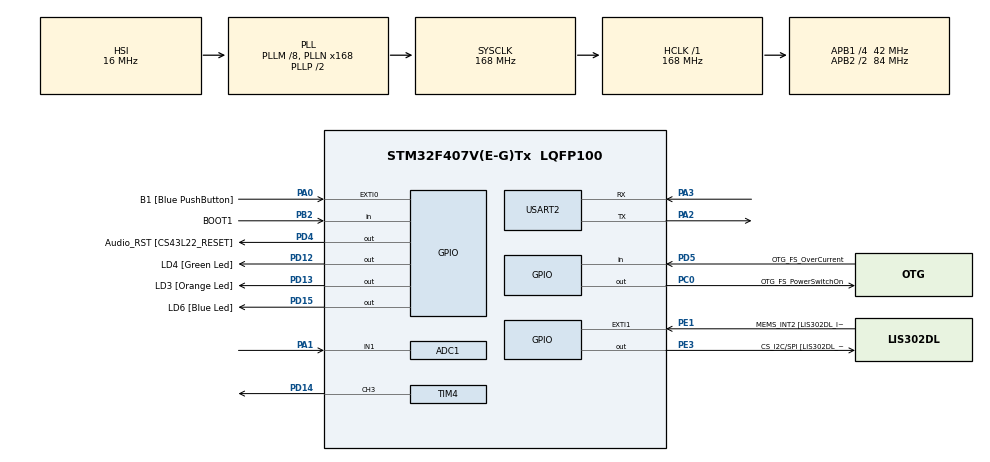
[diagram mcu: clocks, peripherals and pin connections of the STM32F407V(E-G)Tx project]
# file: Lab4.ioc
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ADC1.Channel-0\#ChannelRegularConversion=ADC_CHANNEL_1
ADC1.NbrOfConversionFlag=1
ADC1.Rank-0\#ChannelRegularConversion=1
ADC1.SamplingTime-0\#ChannelRegularConversion=ADC_SAMPLETIME_3CYCLES
ADC1.master=1
Mcu.Family=STM32F4
Mcu.Name=STM32F407V(E-G)Tx
Mcu.Package=LQFP100
NVIC.PriorityGroup=NVIC_PRIORITYGROUP_0
NVIC.TIM8_TRG_COM_TIM14_IRQn=true\:0\:0\:false\:false\:true\:true
PA0-WKUP.GPIO_Label=B1 [Blue PushButton]
PA0-WKUP.Signal=GPXTI0
PA1.Signal=ADCx_IN1
PA10.GPIO_Label=OTG_FS_ID
PA10.GPIO_Mode=GPIO_MODE_AF_PP
PA10.GPIO_PuPd=GPIO_NOPULL
PA10.GPIO_Speed=GPIO_SPEED_FREQ_LOW
PA10.Signal=USB_OTG_FS_ID
PA11.GPIO_Label=OTG_FS_DM
PA11.GPIO_Mode=GPIO_MODE_AF_PP
PA11.GPIO_PuPd=GPIO_NOPULL
PA11.GPIO_Speed=GPIO_SPEED_FREQ_LOW
PA11.Signal=USB_OTG_FS_DM
PA12.GPIO_Label=OTG_FS_DP
PA12.GPIO_Mode=GPIO_MODE_AF_PP
PA12.GPIO_PuPd=GPIO_NOPULL
PA12.GPIO_Speed=GPIO_SPEED_FREQ_LOW
PA12.Signal=USB_OTG_FS_DP
PA13.GPIO_Label=SWDIO
PA13.Signal=SYS_JTMS-SWDIO
PA14.GPIO_Label=SWCLK
PA14.Signal=SYS_JTCK-SWCLK
PA2.Mode=Asynchronous
PA2.Signal=USART2_TX
PA3.Mode=Asynchronous
PA3.Signal=USART2_RX
PA4.GPIO_Label=I2S3_WS [CS43L22_LRCK]
PA4.GPIO_Mode=GPIO_MODE_AF_PP
PA4.GPIO_PuPd=GPIO_NOPULL
PA4.GPIO_Speed=GPIO_SPEED_FREQ_LOW
PA4.Signal=I2S3_WS
PA5.GPIO_Label=SPI1_SCK [LIS302DL_SCL/SPC]
PA5.GPIO_Mode=GPIO_MODE_AF_PP
PA5.GPIO_PuPd=GPIO_NOPULL
PA5.GPIO_Speed=GPIO_SPEED_FREQ_LOW
PA5.Signal=SPI1_SCK
PA6.GPIO_Label=SPI1_MISO [LIS302DL_SDO]
PA6.GPIO_Mode=GPIO_MODE_AF_PP
PA6.GPIO_PuPd=GPIO_NOPULL
PA6.GPIO_Speed=GPIO_SPEED_FREQ_LOW
PA6.Signal=SPI1_MISO
PA7.GPIO_Label=SPI1_MOSI [LIS302DL_SDA/SDI/SDO]
PA7.GPIO_Mode=GPIO_MODE_AF_PP
PA7.GPIO_PuPd=GPIO_NOPULL
PA7.GPIO_Speed=GPIO_SPEED_FREQ_LOW
PA7.Signal=SPI1_MOSI
PA9.GPIO_Label=VBUS_FS
PA9.GPIO_Mode=GPIO_MODE_INPUT
PA9.GPIO_PuPd=GPIO_NOPULL
PA9.Signal=USB_OTG_FS_VBUS
PB10.GPIO_Label=CLK_IN [MP45DT02_CLK]
PB10.GPIO_Mode=GPIO_MODE_AF_PP
PB10.GPIO_PuPd=GPIO_NOPULL
PB10.GPIO_Speed=GPIO_SPEED_FREQ_LOW
PB10.Signal=I2S2_CK
PB2.GPIO_Label=BOOT1
PB2.GPIO_Mode=GPIO_MODE_INPUT
PB2.GPIO_PuPd=GPIO_NOPULL
PB2.Signal=GPIO_Input
PB3.GPIO_Label=SWO
PB3.Signal=SYS_JTDO-SWO
PB6.GPIO_Label=Audio_SCL [CS43L22_SCL]
PB6.GPIO_Mode=GPIO_MODE_AF_OD
PB6.GPIO_PuPd=GPIO_NOPULL
PB6.GPIO_Speed=GPIO_SPEED_FREQ_LOW
PB6.Signal=I2C1_SCL
PB9.GPIO_Label=Audio_SDA [CS43L22_SDA]
PB9.GPIO_Mode=GPIO_MODE_AF_OD
PB9.GPIO_PuPd=GPIO_NOPULL
PB9.GPIO_Speed=GPIO_SPEED_FREQ_LOW
PB9.Signal=I2C1_SDA
PC0.GPIO_Label=OTG_FS_PowerSwitchOn
PC0.GPIO_PuPd=GPIO_NOPULL
PC0.GPIO_Speed=GPIO_SPEED_FREQ_LOW
PC0.PinState=GPIO_PIN_SET
PC0.Signal=GPIO_Output
PC10.GPIO_Label=I2S3_SCK [CS43L22_SCLK]
PC10.GPIO_Mode=GPIO_MODE_AF_PP
PC10.GPIO_PuPd=GPIO_NOPULL
PC10.GPIO_Speed=GPIO_SPEED_FREQ_LOW
PC10.Signal=I2S3_CK
PC12.GPIO_Label=I2S3_SD [CS43L22_SDIN]
PC12.GPIO_Mode=GPIO_MODE_AF_PP
PC12.GPIO_PuPd=GPIO_NOPULL
PC12.GPIO_Speed=GPIO_SPEED_FREQ_LOW
PC12.Signal=I2S3_SD
PC14-OSC32_IN.GPIO_Label=PC14-OSC32_IN
PC14-OSC32_IN.Signal=RCC_OSC32_IN
PC15-OSC32_OUT.GPIO_Label=PC15-OSC32_OUT
PC15-OSC32_OUT.Signal=RCC_OSC32_OUT
PC3.GPIO_Label=PDM_OUT [MP45DT02_DOUT]
PC3.GPIO_Mode=GPIO_MODE_AF_PP
PC3.GPIO_PuPd=GPIO_NOPULL
PC3.GPIO_Speed=GPIO_SPEED_FREQ_LOW
PC3.Signal=I2S2_SD
PC7.GPIO_Label=I2S3_MCK [CS43L22_MCLK]
PC7.GPIO_Mode=GPIO_MODE_AF_PP
PC7.GPIO_PuPd=GPIO_NOPULL
PC7.GPIO_Speed=GPIO_SPEED_FREQ_LOW
PC7.Signal=I2S3_MCK
PD12.GPIO_Label=LD4 [Green Led]
PD12.GPIO_PuPd=GPIO_NOPULL
PD12.GPIO_Speed=GPIO_SPEED_FREQ_LOW
PD12.Signal=GPIO_Output
PD13.GPIO_Label=LD3 [Orange Led]
PD13.GPIO_PuPd=GPIO_NOPULL
PD13.GPIO_Speed=GPIO_SPEED_FREQ_LOW
PD13.Signal=GPIO_Output
PD14.Signal=S_TIM4_CH3
PD15.GPIO_Label=LD6 [Blue Led]
PD15.GPIO_PuPd=GPIO_NOPULL
PD15.GPIO_Speed=GPIO_SPEED_FREQ_LOW
PD15.Signal=GPIO_Output
PD4.GPIO_Label=Audio_RST [CS43L22_RESET]
PD4.GPIO_PuPd=GPIO_NOPULL
PD4.GPIO_Speed=GPIO_SPEED_FREQ_LOW
PD4.Signal=GPIO_Output
PD5.GPIO_Label=OTG_FS_OverCurrent
PD5.GPIO_Mode=GPIO_MODE_INPUT
PD5.GPIO_PuPd=GPIO_NOPULL
PD5.Signal=GPIO_Input
PE1.GPIO_Label=MEMS_INT2 [LIS302DL_INT2]
PE1.GPIO_ModeDefaultEXTI=GPIO_MODE_EVT_RISING
PE1.GPIO_PuPd=GPIO_NOPULL
PE1.Signal=GPXTI1
PE3.GPIO_Label=CS_I2C/SPI [LIS302DL_CS_I2C/SPI]
PE3.GPIO_PuPd=GPIO_NOPULL
PE3.GPIO_Speed=GPIO_SPEED_FREQ_LOW
PE3.Signal=GPIO_Output
PH0-OSC_IN.GPIO_Label=PH0-OSC_IN
PH0-OSC_IN.Signal=RCC_OSC_IN
PH1-OSC_OUT.GPIO_Label=PH1-OSC_OUT
PH1-OSC_OUT.Signal=RCC_OSC_OUT
ProjectManager.HeapSize=0x200
ProjectManager.StackSize=0x400
ProjectManager.TargetToolchain=MDK-ARM V5
RCC.48MHZClocksFreq_Value=48000000
RCC.AHBFreq_Value=168000000
RCC.APB1CLKDivider=RCC_HCLK_DIV4
RCC.APB1Freq_Value=42000000
RCC.APB1TimFreq_Value=84000000
RCC.APB2CLKDivider=RCC_HCLK_DIV2
RCC.APB2Freq_Value=84000000
RCC.APB2TimFreq_Value=168000000
RCC.CortexFreq_Value=168000000
RCC.HCLKFreq_Value=168000000
RCC.HSE_VALUE=8000000
RCC.HSI_VALUE=16000000
RCC.LSE_VALUE=32768
RCC.PLLM=8
RCC.PLLN=168
RCC.PLLQ=7
RCC.SYSCLKFreq_VALUE=168000000
RCC.SYSCLKSource=RCC_SYSCLKSOURCE_PLLCLK
RCC.VCOOutputFreq_Value=336000000
SH.ADCx_IN1.0=ADC1_IN1,IN1
SH.S_TIM4_CH3.0=TIM4_CH3,PWM Generation3 CH3
TIM14.Period=100
TIM14.Prescaler=8399
TIM4.Channel-PWM\ Generation3\ CH3=TIM_CHANNEL_3
TIM4.Period=100
TIM4.Prescaler=83
USART2.VirtualMode=VM_ASYNC
VP_TIM14_VS_ClockSourceINT.Mode=Enable_Timer
board=STM32F4DISCOVERY

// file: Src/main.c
/**
  ******************************************************************************
  * @file           : main.c
  * @brief          : Main program body
  ******************************************************************************
  ** This notice applies to any and all portions of this file
  * that are not between comment pairs USER CODE BEGIN and
  * USER CODE END. Other portions of this file, whether
  * inserted by the user or by software development tools
  * are owned by their respective copyright owners.
  *
  * COPYRIGHT(c) 2018 STMicroelectronics
  *
  * Redistribution and use in source and binary forms, with or without modification,
  * are permitted provided that the following conditions are met:
  *   1. Redistributions of source code must retain the above copyright notice,
  *      this list of conditions and the following disclaimer.
  *   2. Redistributions in binary form must reproduce the above copyright notice,
  *      this list of conditions and the following disclaimer in the documentation
  *      and/or other materials provided with the distribution.
  *   3. Neither the name of STMicroelectronics nor the names of its contributors
  *      may be used to endorse or promote products derived from this software
  *      without specific prior written permission.
  *
  * THIS SOFTWARE IS PROVIDED BY THE COPYRIGHT HOLDERS AND CONTRIBUTORS "AS IS"
  * AND ANY EXPRESS OR IMPLIED WARRANTIES, INCLUDING, BUT NOT LIMITED TO, THE
  * IMPLIED WARRANTIES OF MERCHANTABILITY AND FITNESS FOR A PARTICULAR PURPOSE ARE
  * DISCLAIMED. IN NO EVENT SHALL THE COPYRIGHT HOLDER OR CONTRIBUTORS BE LIABLE
  * FOR ANY DIRECT, INDIRECT, INCIDENTAL, SPECIAL, EXEMPLARY, OR CONSEQUENTIAL
  * DAMAGES (INCLUDING, BUT NOT LIMITED TO, PROCUREMENT OF SUBSTITUTE GOODS OR
  * SERVICES; LOSS OF USE, DATA, OR PROFITS; OR BUSINESS INTERRUPTION) HOWEVER
  * CAUSED AND ON ANY THEORY OF LIABILITY, WHETHER IN CONTRACT, STRICT LIABILITY,
  * OR TORT (INCLUDING NEGLIGENCE OR OTHERWISE) ARISING IN ANY WAY OUT OF THE USE
  * OF THIS SOFTWARE, EVEN IF ADVISED OF THE POSSIBILITY OF SUCH DAMAGE.
  *
  ******************************************************************************
  */
#include "main.h"
#include "stm32f4xx_hal.h"

/* USER CODE BEGIN Includes */
#define SECTION 1

#define MAX_LDR 2300
#define MIN_LDR 900
/* USER CODE END Includes */

ADC_HandleTypeDef hadc1;

TIM_HandleTypeDef htim4;
TIM_HandleTypeDef htim14;

UART_HandleTypeDef huart2;

/* USER CODE BEGIN PV */
/* Private variables ---------------------------------------------------------*/

/* USER CODE END PV */

void SystemClock_Config(void);
static void MX_GPIO_Init(void);
static void MX_ADC1_Init(void);
static void MX_TIM14_Init(void);
static void MX_USART2_UART_Init(void);
static void MX_TIM4_Init(void);

void HAL_TIM_MspPostInit(TIM_HandleTypeDef *htim);

/* USER CODE BEGIN PFP */
/* Private function prototypes -----------------------------------------------*/

/* USER CODE END PFP */

/* USER CODE BEGIN 0 */
void analogWrite(uint16_t pwm)
{
	HAL_TIM_PWM_Stop(&htim4, TIM_CHANNEL_3);

	TIM_OC_InitTypeDef sConfigOC;

	sConfigOC.OCMode = TIM_OCMODE_PWM1;
  sConfigOC.Pulse = pwm;
  sConfigOC.OCPolarity = TIM_OCPOLARITY_HIGH;
  sConfigOC.OCNPolarity = TIM_OCNPOLARITY_HIGH;
  sConfigOC.OCFastMode = TIM_OCFAST_DISABLE;
  sConfigOC.OCIdleState = TIM_OCIDLESTATE_RESET;
  sConfigOC.OCNIdleState = TIM_OCNIDLESTATE_RESET;
  if (HAL_TIM_PWM_ConfigChannel(&htim4, &sConfigOC, TIM_CHANNEL_3) != HAL_OK)
  {
    _Error_Handler(__FILE__, __LINE__);
  }

	HAL_TIM_PWM_Start(&htim4, TIM_CHANNEL_3);
}
#if SECTION == 1
int16_t pwm_percent;
int8_t pwm_state;
#endif
void HAL_TIM_PeriodElapsedCallback(TIM_HandleTypeDef *htim)
{
		if (htim->Instance == TIM14)
		{
			#if SECTION == 1
			pwm_percent = pwm_percent + pwm_state;
			analogWrite(pwm_percent);

			if (pwm_percent > 99)
				pwm_state = -1;
			else if (pwm_percent < 1)
				pwm_state = 1;
			#endif
		}
}
/* USER CODE END 0 */

int main(void)
{
  /* USER CODE BEGIN 1 */
	#if SECTION == 1
	pwm_state = 1;
	#elif SECTION == 3
	uint16_t ldr_p = MAX_LDR - MIN_LDR;
	#endif
  /* USER CODE END 1 */

  /* MCU Configuration----------------------------------------------------------*/

  /* Reset of all peripherals, Initializes the Flash interface and the Systick. */
  HAL_Init();

  /* Configure the system clock */
  SystemClock_Config();

  /* Initialize all configured peripherals */
  MX_GPIO_Init();
  MX_ADC1_Init();
  MX_TIM14_Init();
  MX_USART2_UART_Init();
  MX_TIM4_Init();
  /* USER CODE BEGIN 2 */
	HAL_TIM_Base_Start_IT(&htim14);
  /* USER CODE END 2 */

  /* Infinite loop */
  /* USER CODE BEGIN WHILE */
  while (1)
  {
		#if SECTION == 2
		HAL_ADC_Start(&hadc1);
		if (HAL_ADC_PollForConversion(&hadc1, 1000) == HAL_OK)
		{
			char text[16];
			uint16_t adc = HAL_ADC_GetValue(&hadc1);
			sprintf(text, "%d\n", adc);
			HAL_UART_Transmit(&huart2, (uint8_t*)text, sizeof(text), 1000);
		}
		#elif SECTION == 3
		HAL_ADC_Start(&hadc1);
		if (HAL_ADC_PollForConversion(&hadc1, 1000) == HAL_OK)
		{
			uint16_t adc = HAL_ADC_GetValue(&hadc1);
			uint16_t percent = (double)(1.0 - ((double)(MAX_LDR - adc)/ (double)ldr_p)) * 100.0;
			analogWrite(percent);

			char text[32];
			sprintf(text, "%d %d\n", adc, percent);
			HAL_UART_Transmit(&huart2, (uint8_t*)text, sizeof(text), 1000);
		}
		#endif
  /* USER CODE END WHILE */

  }

}

void SystemClock_Config(void)
{

  RCC_OscInitTypeDef RCC_OscInitStruct;
  RCC_ClkInitTypeDef RCC_ClkInitStruct;

    /**Configure the main internal regulator output voltage
    */
  __HAL_RCC_PWR_CLK_ENABLE();

  __HAL_PWR_VOLTAGESCALING_CONFIG(PWR_REGULATOR_VOLTAGE_SCALE1);

    /**Initializes the CPU, AHB and APB busses clocks
    */
  RCC_OscInitStruct.OscillatorType = RCC_OSCILLATORTYPE_HSI;
  RCC_OscInitStruct.HSIState = RCC_HSI_ON;
  RCC_OscInitStruct.HSICalibrationValue = 16;
  RCC_OscInitStruct.PLL.PLLState = RCC_PLL_ON;
  RCC_OscInitStruct.PLL.PLLSource = RCC_PLLSOURCE_HSI;
  RCC_OscInitStruct.PLL.PLLM = 8;
  RCC_OscInitStruct.PLL.PLLN = 168;
  RCC_OscInitStruct.PLL.PLLP = RCC_PLLP_DIV2;
  RCC_OscInitStruct.PLL.PLLQ = 7;
  if (HAL_RCC_OscConfig(&RCC_OscInitStruct) != HAL_OK)
  {
    _Error_Handler(__FILE__, __LINE__);
  }

    /**Initializes the CPU, AHB and APB busses clocks
    */
  RCC_ClkInitStruct.ClockType = RCC_CLOCKTYPE_HCLK|RCC_CLOCKTYPE_SYSCLK
                              |RCC_CLOCKTYPE_PCLK1|RCC_CLOCKTYPE_PCLK2;
  RCC_ClkInitStruct.SYSCLKSource = RCC_SYSCLKSOURCE_PLLCLK;
  RCC_ClkInitStruct.AHBCLKDivider = RCC_SYSCLK_DIV1;
  RCC_ClkInitStruct.APB1CLKDivider = RCC_HCLK_DIV4;
  RCC_ClkInitStruct.APB2CLKDivider = RCC_HCLK_DIV2;

  if (HAL_RCC_ClockConfig(&RCC_ClkInitStruct, FLASH_LATENCY_5) != HAL_OK)
  {
    _Error_Handler(__FILE__, __LINE__);
  }

    /**Configure the Systick interrupt time
    */
  HAL_SYSTICK_Config(HAL_RCC_GetHCLKFreq()/1000);

    /**Configure the Systick
    */
  HAL_SYSTICK_CLKSourceConfig(SYSTICK_CLKSOURCE_HCLK);

  /* SysTick_IRQn interrupt configuration */
  HAL_NVIC_SetPriority(SysTick_IRQn, 0, 0);
}

/* ADC1 init function */
static void MX_ADC1_Init(void)
{

  ADC_ChannelConfTypeDef sConfig;

    /**Configure the global features of the ADC (Clock, Resolution, Data Alignment and number of conversion)
    */
  hadc1.Instance = ADC1;
  hadc1.Init.ClockPrescaler = ADC_CLOCK_SYNC_PCLK_DIV4;
  hadc1.Init.Resolution = ADC_RESOLUTION_12B;
  hadc1.Init.ScanConvMode = DISABLE;
  hadc1.Init.ContinuousConvMode = DISABLE;
  hadc1.Init.DiscontinuousConvMode = DISABLE;
  hadc1.Init.ExternalTrigConvEdge = ADC_EXTERNALTRIGCONVEDGE_NONE;
  hadc1.Init.ExternalTrigConv = ADC_SOFTWARE_START;
  hadc1.Init.DataAlign = ADC_DATAALIGN_RIGHT;
  hadc1.Init.NbrOfConversion = 1;
  hadc1.Init.DMAContinuousRequests = DISABLE;
  hadc1.Init.EOCSelection = ADC_EOC_SINGLE_CONV;
  if (HAL_ADC_Init(&hadc1) != HAL_OK)
  {
    _Error_Handler(__FILE__, __LINE__);
  }

    /**Configure for the selected ADC regular channel its corresponding rank in the sequencer and its sample time.
    */
  sConfig.Channel = ADC_CHANNEL_1;
  sConfig.Rank = 1;
  sConfig.SamplingTime = ADC_SAMPLETIME_3CYCLES;
  if (HAL_ADC_ConfigChannel(&hadc1, &sConfig) != HAL_OK)
  {
    _Error_Handler(__FILE__, __LINE__);
  }

}

/* TIM4 init function */
static void MX_TIM4_Init(void)
{

  TIM_MasterConfigTypeDef sMasterConfig;
  TIM_OC_InitTypeDef sConfigOC;

  htim4.Instance = TIM4;
  htim4.Init.Prescaler = 83;
  htim4.Init.CounterMode = TIM_COUNTERMODE_UP;
  htim4.Init.Period = 100;
  htim4.Init.ClockDivision = TIM_CLOCKDIVISION_DIV1;
  if (HAL_TIM_PWM_Init(&htim4) != HAL_OK)
  {
    _Error_Handler(__FILE__, __LINE__);
  }

  sMasterConfig.MasterOutputTrigger = TIM_TRGO_RESET;
  sMasterConfig.MasterSlaveMode = TIM_MASTERSLAVEMODE_DISABLE;
  if (HAL_TIMEx_MasterConfigSynchronization(&htim4, &sMasterConfig) != HAL_OK)
  {
    _Error_Handler(__FILE__, __LINE__);
  }

  sConfigOC.OCMode = TIM_OCMODE_PWM1;
  sConfigOC.Pulse = 0;
  sConfigOC.OCPolarity = TIM_OCPOLARITY_HIGH;
  sConfigOC.OCFastMode = TIM_OCFAST_DISABLE;
  if (HAL_TIM_PWM_ConfigChannel(&htim4, &sConfigOC, TIM_CHANNEL_3) != HAL_OK)
  {
    _Error_Handler(__FILE__, __LINE__);
  }

  HAL_TIM_MspPostInit(&htim4);

}

/* TIM14 init function */
static void MX_TIM14_Init(void)
{

  htim14.Instance = TIM14;
  htim14.Init.Prescaler = 8399;
  htim14.Init.CounterMode = TIM_COUNTERMODE_UP;
  htim14.Init.Period = 10;
  htim14.Init.ClockDivision = TIM_CLOCKDIVISION_DIV1;
  if (HAL_TIM_Base_Init(&htim14) != HAL_OK)
  {
    _Error_Handler(__FILE__, __LINE__);
  }

}

/* USART2 init function */
static void MX_USART2_UART_Init(void)
{

  huart2.Instance = USART2;
  huart2.Init.BaudRate = 115200;
  huart2.Init.WordLength = UART_WORDLENGTH_8B;
  huart2.Init.StopBits = UART_STOPBITS_1;
  huart2.Init.Parity = UART_PARITY_NONE;
  huart2.Init.Mode = UART_MODE_TX_RX;
  huart2.Init.HwFlowCtl = UART_HWCONTROL_NONE;
  huart2.Init.OverSampling = UART_OVERSAMPLING_16;
  if (HAL_UART_Init(&huart2) != HAL_OK)
  {
    _Error_Handler(__FILE__, __LINE__);
  }

}

/** Configure pins as
        * Analog
        * Input
        * Output
        * EVENT_OUT
        * EXTI
     PC3   ------> I2S2_SD
     PA4   ------> I2S3_WS
     PA5   ------> SPI1_SCK
     PA6   ------> SPI1_MISO
     PA7   ------> SPI1_MOSI
     PB10   ------> I2S2_CK
     PC7   ------> I2S3_MCK
     PA9   ------> USB_OTG_FS_VBUS
     PA10   ------> USB_OTG_FS_ID
     PA11   ------> USB_OTG_FS_DM
     PA12   ------> USB_OTG_FS_DP
     PC10   ------> I2S3_CK
     PC12   ------> I2S3_SD
     PB6   ------> I2C1_SCL
     PB9   ------> I2C1_SDA
*/
static void MX_GPIO_Init(void)
{

  GPIO_InitTypeDef GPIO_InitStruct;

  /* GPIO Ports Clock Enable */
  __HAL_RCC_GPIOE_CLK_ENABLE();
  __HAL_RCC_GPIOC_CLK_ENABLE();
  __HAL_RCC_GPIOH_CLK_ENABLE();
  __HAL_RCC_GPIOA_CLK_ENABLE();
  __HAL_RCC_GPIOB_CLK_ENABLE();
  __HAL_RCC_GPIOD_CLK_ENABLE();

  /*Configure GPIO pin Output Level */
  HAL_GPIO_WritePin(CS_I2C_SPI_GPIO_Port, CS_I2C_SPI_Pin, GPIO_PIN_RESET);

  /*Configure GPIO pin Output Level */
  HAL_GPIO_WritePin(OTG_FS_PowerSwitchOn_GPIO_Port, OTG_FS_PowerSwitchOn_Pin, GPIO_PIN_SET);

  /*Configure GPIO pin Output Level */
  HAL_GPIO_WritePin(GPIOD, LD4_Pin|LD3_Pin|LD6_Pin|Audio_RST_Pin, GPIO_PIN_RESET);

  /*Configure GPIO pin : CS_I2C_SPI_Pin */
  GPIO_InitStruct.Pin = CS_I2C_SPI_Pin;
  GPIO_InitStruct.Mode = GPIO_MODE_OUTPUT_PP;
  GPIO_InitStruct.Pull = GPIO_NOPULL;
  GPIO_InitStruct.Speed = GPIO_SPEED_FREQ_LOW;
  HAL_GPIO_Init(CS_I2C_SPI_GPIO_Port, &GPIO_InitStruct);

  /*Configure GPIO pin : OTG_FS_PowerSwitchOn_Pin */
  GPIO_InitStruct.Pin = OTG_FS_PowerSwitchOn_Pin;
  GPIO_InitStruct.Mode = GPIO_MODE_OUTPUT_PP;
  GPIO_InitStruct.Pull = GPIO_NOPULL;
  GPIO_InitStruct.Speed = GPIO_SPEED_FREQ_LOW;
  HAL_GPIO_Init(OTG_FS_PowerSwitchOn_GPIO_Port, &GPIO_InitStruct);

  /*Configure GPIO pin : PDM_OUT_Pin */
  GPIO_InitStruct.Pin = PDM_OUT_Pin;
  GPIO_InitStruct.Mode = GPIO_MODE_AF_PP;
  GPIO_InitStruct.Pull = GPIO_NOPULL;
  GPIO_InitStruct.Speed = GPIO_SPEED_FREQ_LOW;
  GPIO_InitStruct.Alternate = GPIO_AF5_SPI2;
  HAL_GPIO_Init(PDM_OUT_GPIO_Port, &GPIO_InitStruct);

  /*Configure GPIO pin : B1_Pin */
  GPIO_InitStruct.Pin = B1_Pin;
  GPIO_InitStruct.Mode = GPIO_MODE_IT_RISING;
  GPIO_InitStruct.Pull = GPIO_NOPULL;
  HAL_GPIO_Init(B1_GPIO_Port, &GPIO_InitStruct);

  /*Configure GPIO pin : I2S3_WS_Pin */
  GPIO_InitStruct.Pin = I2S3_WS_Pin;
  GPIO_InitStruct.Mode = GPIO_MODE_AF_PP;
  GPIO_InitStruct.Pull = GPIO_NOPULL;
  GPIO_InitStruct.Speed = GPIO_SPEED_FREQ_LOW;
  GPIO_InitStruct.Alternate = GPIO_AF6_SPI3;
  HAL_GPIO_Init(I2S3_WS_GPIO_Port, &GPIO_InitStruct);

  /*Configure GPIO pins : SPI1_SCK_Pin SPI1_MISO_Pin SPI1_MOSI_Pin */
  GPIO_InitStruct.Pin = SPI1_SCK_Pin|SPI1_MISO_Pin|SPI1_MOSI_Pin;
  GPIO_InitStruct.Mode = GPIO_MODE_AF_PP;
  GPIO_InitStruct.Pull = GPIO_NOPULL;
  GPIO_InitStruct.Speed = GPIO_SPEED_FREQ_LOW;
  GPIO_InitStruct.Alternate = GPIO_AF5_SPI1;
  HAL_GPIO_Init(GPIOA, &GPIO_InitStruct);

  /*Configure GPIO pin : BOOT1_Pin */
  GPIO_InitStruct.Pin = BOOT1_Pin;
  GPIO_InitStruct.Mode = GPIO_MODE_INPUT;
  GPIO_InitStruct.Pull = GPIO_NOPULL;
  HAL_GPIO_Init(BOOT1_GPIO_Port, &GPIO_InitStruct);

  /*Configure GPIO pin : CLK_IN_Pin */
  GPIO_InitStruct.Pin = CLK_IN_Pin;
  GPIO_InitStruct.Mode = GPIO_MODE_AF_PP;
  GPIO_InitStruct.Pull = GPIO_NOPULL;
  GPIO_InitStruct.Speed = GPIO_SPEED_FREQ_LOW;
  GPIO_InitStruct.Alternate = GPIO_AF5_SPI2;
  HAL_GPIO_Init(CLK_IN_GPIO_Port, &GPIO_InitStruct);

  /*Configure GPIO pins : LD4_Pin LD3_Pin LD6_Pin Audio_RST_Pin */
  GPIO_InitStruct.Pin = LD4_Pin|LD3_Pin|LD6_Pin|Audio_RST_Pin;
  GPIO_InitStruct.Mode = GPIO_MODE_OUTPUT_PP;
  GPIO_InitStruct.Pull = GPIO_NOPULL;
  GPIO_InitStruct.Speed = GPIO_SPEED_FREQ_LOW;
  HAL_GPIO_Init(GPIOD, &GPIO_InitStruct);

  /*Configure GPIO pins : I2S3_MCK_Pin I2S3_SCK_Pin I2S3_SD_Pin */
  GPIO_InitStruct.Pin = I2S3_MCK_Pin|I2S3_SCK_Pin|I2S3_SD_Pin;
  GPIO_InitStruct.Mode = GPIO_MODE_AF_PP;
  GPIO_InitStruct.Pull = GPIO_NOPULL;
  GPIO_InitStruct.Speed = GPIO_SPEED_FREQ_LOW;
  GPIO_InitStruct.Alternate = GPIO_AF6_SPI3;
  HAL_GPIO_Init(GPIOC, &GPIO_InitStruct);

  /*Configure GPIO pin : VBUS_FS_Pin */
  GPIO_InitStruct.Pin = VBUS_FS_Pin;
  GPIO_InitStruct.Mode = GPIO_MODE_INPUT;
  GPIO_InitStruct.Pull = GPIO_NOPULL;
  HAL_GPIO_Init(VBUS_FS_GPIO_Port, &GPIO_InitStruct);

  /*Configure GPIO pins : OTG_FS_ID_Pin OTG_FS_DM_Pin OTG_FS_DP_Pin */
  GPIO_InitStruct.Pin = OTG_FS_ID_Pin|OTG_FS_DM_Pin|OTG_FS_DP_Pin;
  GPIO_InitStruct.Mode = GPIO_MODE_AF_PP;
  GPIO_InitStruct.Pull = GPIO_NOPULL;
  GPIO_InitStruct.Speed = GPIO_SPEED_FREQ_LOW;
  GPIO_InitStruct.Alternate = GPIO_AF10_OTG_FS;
  HAL_GPIO_Init(GPIOA, &GPIO_InitStruct);

  /*Configure GPIO pin : OTG_FS_OverCurrent_Pin */
  GPIO_InitStruct.Pin = OTG_FS_OverCurrent_Pin;
  GPIO_InitStruct.Mode = GPIO_MODE_INPUT;
  GPIO_InitStruct.Pull = GPIO_NOPULL;
  HAL_GPIO_Init(OTG_FS_OverCurrent_GPIO_Port, &GPIO_InitStruct);

  /*Configure GPIO pins : Audio_SCL_Pin Audio_SDA_Pin */
  GPIO_InitStruct.Pin = Audio_SCL_Pin|Audio_SDA_Pin;
  GPIO_InitStruct.Mode = GPIO_MODE_AF_OD;
  GPIO_InitStruct.Pull = GPIO_PULLUP;
  GPIO_InitStruct.Speed = GPIO_SPEED_FREQ_LOW;
  GPIO_InitStruct.Alternate = GPIO_AF4_I2C1;
  HAL_GPIO_Init(GPIOB, &GPIO_InitStruct);

  /*Configure GPIO pin : MEMS_INT2_Pin */
  GPIO_InitStruct.Pin = MEMS_INT2_Pin;
  GPIO_InitStruct.Mode = GPIO_MODE_EVT_RISING;
  GPIO_InitStruct.Pull = GPIO_NOPULL;
  HAL_GPIO_Init(MEMS_INT2_GPIO_Port, &GPIO_InitStruct);

}

void _Error_Handler(char *file, int line)
{
  while(1)
  {
  }
}

/************************ (C) COPYRIGHT STMicroelectronics *****END OF FILE****/
